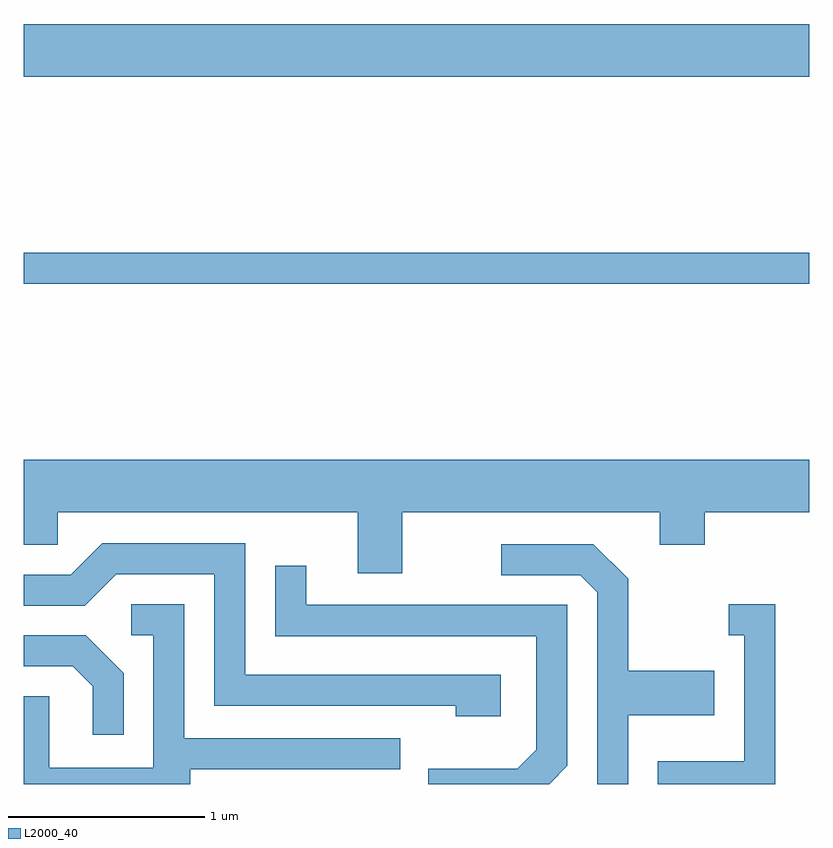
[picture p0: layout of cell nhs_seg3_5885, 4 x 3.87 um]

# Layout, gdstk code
import gdstk
lib = gdstk.Library(unit=1e-6, precision=1e-09)
def R(c, l, rs):  # rectangles x0, y0, x1, y1
    for r in rs: c.add(gdstk.rectangle(r[:2], r[2:], *l))
def P(c, l, *ps):  # polygons
    for p in ps: c.add(gdstk.Polygon(p, *l))
L2000_40 = (2000, 40)

nhs_seg3_5885 = lib.new_cell('nhs_seg3_5885')
R(nhs_seg3_5885, L2000_40, [(357.611,1200.441,361.611,1200.599), (357.611,1201.496,361.611,1201.764)])
P(nhs_seg3_5885, L2000_40, [(359.539,1199.276),(360.851,1199.276),(360.851,1199.111),(361.079,1199.111),(361.079,1199.276),(361.611,1199.276),(361.611,1199.544),(357.611,1199.544),(357.611,1199.111),(357.784,1199.111),(357.784,1199.276),(359.311,1199.276),(359.311,1198.966),(359.539,1198.966)],
  [(360.039,1198.449),(358.739,1198.449),(358.739,1199.119),(358.009,1199.119),(357.849,1198.959),(357.611,1198.959),(357.611,1198.801),(357.922,1198.801),(358.082,1198.961),(358.581,1198.961),(358.581,1198.291),(359.811,1198.291),(359.811,1198.236),(360.039,1198.236)],
  [(360.689,1198.241),(361.129,1198.241),(361.129,1198.469),(360.689,1198.469),(360.689,1198.937),(360.512,1199.114),(360.043,1199.114),(360.043,1198.956),(360.444,1198.956),(360.531,1198.869),(360.531,1197.892),(360.689,1197.892)],
  [(360.379,1197.984),(360.379,1198.804),(359.049,1198.804),(359.049,1199.003),(358.891,1199.003),(358.891,1198.646),(360.221,1198.646),(360.221,1198.067),(360.124,1197.969),(359.671,1197.969),(359.671,1197.892),(360.288,1197.892)],
  [(361.439,1198.809),(361.203,1198.809),(361.203,1198.651),(361.281,1198.651),(361.281,1198.009),(360.841,1198.009),(360.841,1197.892),(361.439,1197.892)],
  [(358.459,1197.966),(359.528,1197.966),(359.528,1198.124),(358.429,1198.124),(358.429,1198.809),(358.158,1198.809),(358.158,1198.651),(358.271,1198.651),(358.271,1197.974),(357.739,1197.974),(357.739,1198.339),(357.611,1198.339),(357.611,1197.892),(358.459,1197.892)],
  [(358.119,1198.457),(357.927,1198.649),(357.611,1198.649),(357.611,1198.491),(357.859,1198.491),(357.961,1198.389),(357.961,1198.143),(358.119,1198.143)])

lib.write_gds('nhs_seg3_5885.gds')
